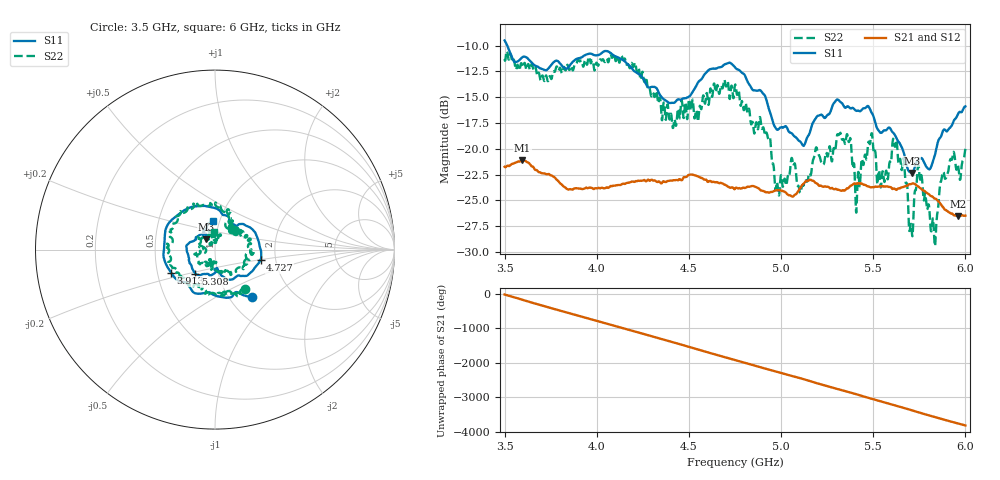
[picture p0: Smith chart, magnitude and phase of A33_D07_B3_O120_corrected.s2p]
! Created with skrf 1.9.0 (http://scikit-rf.org).
# Hz S RI R 50.0
!freq ReS11 ImS11 ReS21 ImS21 ReS12 ImS12 ReS22 ImS22
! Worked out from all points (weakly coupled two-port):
!   1601 points, 3.5 GHz to 6 GHz, reference 50 ohm
!   highest |S21| = -21.11 dB at 3.595 GHz (marker M1); lowest = -26.5 dB at 5.959 GHz (marker M2)
!   lowest |S11| = -22.3 dB at 5.709 GHz (marker M3), VSWR 1.17, Z = 44.9 + j5.22 ohm
!   |S11| at or under -10 dB: 3.514 GHz to end of sweep
!   |S22| runs from -29.4 to -10.5 dB; largest |S21 - S12| = 0.00091
!   S11 on the Smith chart (normalised r, x): 3.5 GHz: 1.27, -0.75; 3.913 GHz: 0.59, -0.16; 4.727 GHz: 1.66, -0.20; 5.308 GHz: 0.78, -0.22; 6 GHz: 0.93, +0.31
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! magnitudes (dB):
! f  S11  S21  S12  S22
! 3.5 GHz  -9.5  -21.8  -21.7  -11.3
! 3.595 GHz  -11.1  -21.1  -21.1  -12.0
! 3.913 GHz  -11.2  -23.9  -23.8  -11.5
! 3.917 GHz  -11.1  -23.9  -23.9  -11.4
! 4.334 GHz  -14.5  -23.2  -23.1  -15.6
! 4.727 GHz  -11.7  -23.8  -23.7  -14.4
! 4.75 GHz  -12.1  -23.9  -23.8  -13.8
! 4.931 GHz  -16.0  -24.2  -24.2  -19.1
! 4.98 GHz  -18.2  -24.0  -24.0  -23.4
! 5.167 GHz  -17.7  -23.1  -23.0  -21.8
! 5.308 GHz  -15.2  -24.0  -23.9  -18.6
! 5.369 GHz  -16.0  -23.7  -23.7  -19.3
! 5.414 GHz  -16.3  -23.4  -23.4  -23.4
! 5.484 GHz  -16.2  -23.7  -23.7  -19.3
! 5.584 GHz  -17.9  -23.7  -23.7  -22.0
! 5.619 GHz  -18.7  -23.9  -23.9  -19.8
! 5.709 GHz  -22.3  -23.4  -23.3  -28.1
! 5.75 GHz  -21.0  -23.8  -23.7  -22.4
! 5.827 GHz  -21.1  -24.7  -24.7  -27.2
! 5.873 GHz  -18.5  -25.5  -25.5  -22.6
! 5.959 GHz  -16.6  -26.5  -26.5  -21.6
! 6 GHz  -15.9  -26.5  -26.4  -20.0
